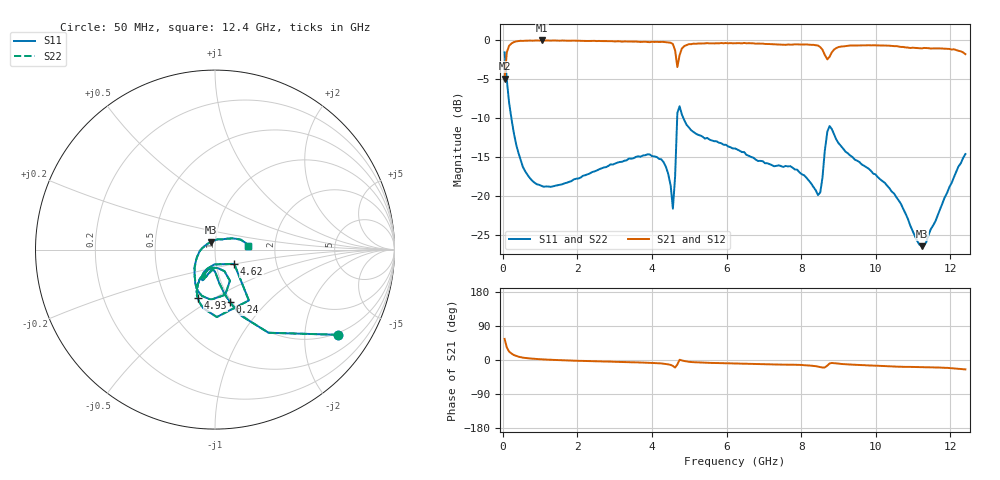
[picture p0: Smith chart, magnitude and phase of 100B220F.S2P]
!  American Technical Ceramics  Date:  3/13/98
!  One Norden Lane
!  Huntington Station,  NY.  11746-2102
!  Tel:  (516) 547-5700  Fax:  (516) 547-5748
!  Part Number  100b220f
!  Description: Porcelain, High Q, Low ESR
!  Application: Bypass, Coupling, Timing, Feedback
!  Tuning, Impedance Match, Blocking
# GHZ S DB R 50
! Freq  |S11|  S11 Ph  |S21|  S21 Ph  |S12|  S12 Ph  |S22|  S22 Ph
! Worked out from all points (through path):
!   201 points, 50 MHz to 12.4 GHz, reference 50 ohm
!   highest |S21| = -0.06 dB at 1.04 GHz (marker M1); lowest = -4.9 dB at 50 MHz (marker M2)
!   group delay of S21, straight-line fit = 6.13 ps
!   lowest |S11| = -26.5 dB at 11.23 GHz (marker M3), VSWR 1.10, Z = 47.7 + j4.04 ohm
!   |S11| at or under -10 dB: 230.7 MHz to 4.675 GHz (4.445 GHz wide, 181 % of centre); 4.839 GHz to end of sweep
!   |S22| runs from -26.5 to -1.6 dB; largest |S21 - S12| = 0
!   S11 on the Smith chart (normalised r, x): 50 MHz: 0.94, -2.92; 240 MHz: 0.98, -0.63; 4.62 GHz: 1.22, -0.20; 4.93 GHz: 0.72, -0.42; 12.4 GHz: 1.45, +0.06
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0.05  -1.59 -34.8  -4.95 55.6  -4.95 55.6  -1.59 -34.8
0.11  -5.18 -57.2  -1.57 32.7  -1.57 32.7  -5.18 -57.2
0.24  -10.30 -74.1  -0.42 16.7  -0.42 16.7  -10.30 -74.1
0.54  -16.30 -85.6  -0.12 6.1  -0.12 6.1  -16.30 -85.6
1.04  -18.73 -93.2  -0.06 1.8  -0.06 1.8  -18.73 -93.2
2.15  -17.43 -103.5  -0.11 -2.4  -0.11 -2.4  -17.43 -103.5
4.19  -15.27 -115.8  -0.26 -8.8  -0.26 -8.8  -15.27 -115.8
4.43  -17.11 -116.1  -0.30 -11.4  -0.30 -11.4  -17.11 -116.1
4.56  -21.65 -92.9  -0.52 -15.7  -0.52 -15.7  -21.65 -92.9
4.62  -17.52 -36.6  -1.34 -19.8  -1.34 -19.8  -17.52 -36.6
4.68  -9.36 -56.3  -3.48 -11.8  -3.48 -11.8  -9.36 -56.3
4.74  -8.50 -88.5  -1.95 0.7  -1.95 0.7  -8.50 -88.5
4.93  -10.90 -109.5  -0.65 -3.7  -0.65 -3.7  -10.90 -109.5
6.23  -13.93 -116.2  -0.41 -9.3  -0.41 -9.3  -13.93 -116.2
8.32  -18.82 -106.2  -0.62 -15.4  -0.62 -15.4  -18.82 -106.2
8.51  -19.58 -81.0  -0.91 -18.6  -0.91 -18.6  -19.58 -81.0
8.63  -14.30 -64.4  -1.90 -19.8  -1.90 -19.8  -14.30 -64.4
8.76  -11.05 -94.6  -2.15 -9.2  -2.15 -9.2  -11.05 -94.6
9  -13.25 -120.5  -0.91 -9.5  -0.91 -9.5  -13.25 -120.5
10.36  -19.01 -155.4  -0.73 -16.6  -0.73 -16.6  -19.01 -155.4
11.23  -26.47 117.1  -1.08 -18.6  -1.08 -18.6  -26.47 117.1
12.4  -14.65 6.3  -1.82 -24.8  -1.82 -24.8  -14.65 6.3
